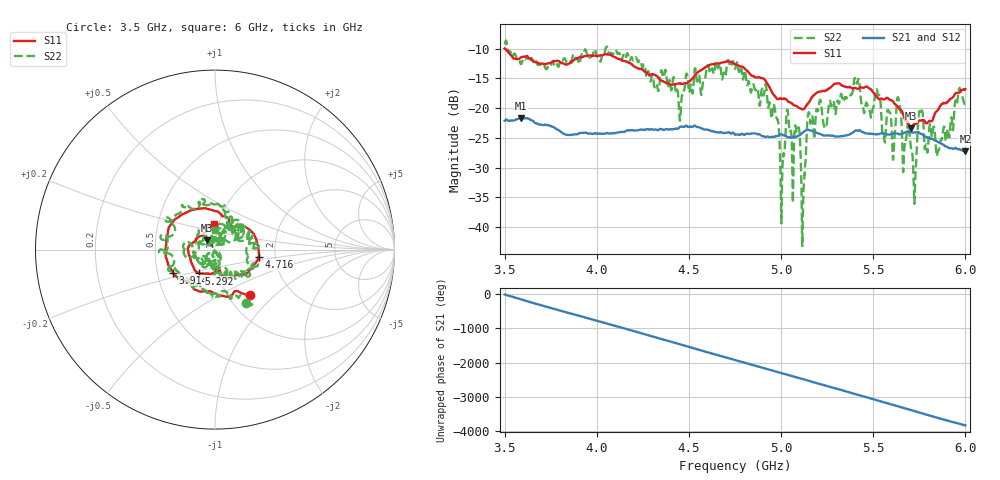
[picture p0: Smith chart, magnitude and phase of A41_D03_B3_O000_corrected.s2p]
! Created with skrf 1.9.0 (http://scikit-rf.org).
# Hz S RI R 50.0
!freq ReS11 ImS11 ReS21 ImS21 ReS12 ImS12 ReS22 ImS22
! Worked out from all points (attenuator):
!   1601 points, 3.5 GHz to 6 GHz, reference 50 ohm
!   highest |S21| = -21.65 dB at 3.589 GHz (marker M1); lowest = -27.3 dB at 6 GHz (marker M2)
!   lowest |S11| = -23.4 dB at 5.705 GHz (marker M3), VSWR 1.15, Z = 45.5 + j4.7 ohm
!   |S11| at or under -10 dB: 3.501 GHz to end of sweep
!   |S22| runs from -43.2 to -8.6 dB; largest |S21 - S12| = 0.00093
!   S11 on the Smith chart (normalised r, x): 3.5 GHz: 1.26, -0.70; 3.914 GHz: 0.60, -0.17; 4.716 GHz: 1.63, -0.14; 5.292 GHz: 0.81, -0.22; 6 GHz: 0.95, +0.28
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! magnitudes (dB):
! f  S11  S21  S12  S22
! 3.5 GHz  -10.0  -22.1  -22.1  -9.3
! 3.589 GHz  -11.5  -21.7  -21.6  -12.6
! 3.914 GHz  -11.5  -24.2  -24.1  -11.3
! 3.917 GHz  -11.5  -24.2  -24.2  -11.0
! 4.334 GHz  -14.9  -23.7  -23.6  -17.1
! 4.716 GHz  -12.2  -24.0  -24.1  -12.0
! 4.75 GHz  -12.6  -24.5  -24.4  -13.4
! 4.969 GHz  -18.1  -24.8  -24.7  -20.8
! 5.006 GHz  -18.5  -24.5  -24.4  -30.9
! 5.034 GHz  -18.8  -24.9  -24.8  -20.3
! 5.088 GHz  -19.7  -24.7  -24.7  -23.9
! 5.12 GHz  -20.2  -24.0  -24.0  -35.2
! 5.145 GHz  -19.3  -23.6  -23.6  -21.3
! 5.167 GHz  -18.2  -23.8  -23.8  -21.5
! 5.292 GHz  -15.9  -24.7  -24.7  -20.6
! 5.409 GHz  -16.7  -23.8  -23.7  -15.8
! 5.584 GHz  -18.5  -24.4  -24.4  -20.5
! 5.705 GHz  -23.4  -24.1  -24.0  -26.7
! 5.723 GHz  -22.7  -24.1  -24.0  -36.1
! 5.756 GHz  -22.1  -24.3  -24.2  -21.0
! 5.852 GHz  -20.3  -25.7  -25.6  -27.3
! 6 GHz  -16.8  -27.3  -27.2  -19.3
